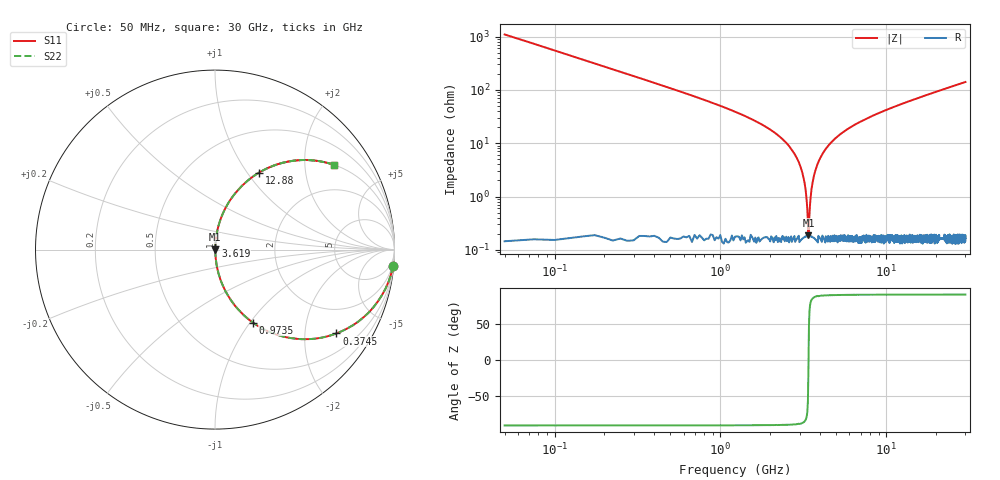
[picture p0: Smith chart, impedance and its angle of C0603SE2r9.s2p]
!	AVX Thin Film Operation 	Date: April 2014
!	Description: Accu-P® Series, Thin Film  SMD RF Capacitor
!	Part Number: 06031J2R9QBSTR
# MHZ S MA R 50
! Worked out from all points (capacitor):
!   1201 points, 50 MHz to 30 GHz, reference 50 ohm
!   read as one part in series: C = 2.9 pF near 199.8 MHz
!   lowest |Z| = 186 mohm at 3.394 GHz (marker M1)
!   series resonance near 3.399 GHz, so ESL is about 760 pH
!   S11 on the Smith chart (normalised r, x): 50 MHz: 1, -22; 374.5 MHz: 1.01, -2.89; 973.5 MHz: 1.00, -1.03; 3.619 GHz: 1.00, +0.04; 12.88 GHz: 1.00, +1.14; 30 GHz: 1.00, +2.82
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50  0.996 -5.2  0.091 84.8  0.091 84.8  0.996 -5.2
249.667  0.909 -24.6  0.416 65.4  0.416 65.4  0.909 -24.6
374.458  0.822 -34.6  0.568 55.3  0.568 55.3  0.822 -34.6
973.458  0.459 -62.5  0.887 27.3  0.887 27.3  0.459 -62.5
1622.375  0.252 -75.0  0.966 14.6  0.966 14.6  0.252 -75.0
2745.5  0.069 -84.7  0.996 4.0  0.996 4.0  0.069 -84.7
3069.958  0.033 -85.3  0.998 1.9  0.998 1.9  0.033 -85.3
3169.792  0.023 -84.6  0.998 1.3  0.998 1.3  0.023 -84.6
3294.583  0.01 -80.3  0.998 0.6  0.998 0.6  0.01 -80.3
3394.417  0.001672 -14.6  0.998 0.0  0.998 0.0  0.001672 -14.6
3494.25  0.009071 79.2  0.998 -0.5  0.998 -0.5  0.009071 79.2
3619.042  0.02 84.3  0.998 -1.2  0.998 -1.2  0.02 84.3
3793.75  0.036 85.4  0.998 -2.0  0.998 -2.0  0.036 85.4
4093.25  0.06 85.0  0.997 -3.5  0.997 -3.5  0.06 85.0
5041.667  0.129 81.9  0.99 -7.4  0.99 -7.4  0.129 81.9
6938.5  0.243 75.6  0.969 -14.0  0.969 -14.0  0.243 75.6
10058.29  0.389 66.9  0.92 -22.9  0.92 -22.9  0.389 66.9
12878.58  0.494 60.2  0.868 -29.6  0.868 -29.6  0.494 60.2
15025  0.56 55.8  0.827 -34.1  0.827 -34.1  0.56 55.8
20016.67  0.678 47.2  0.734 -42.7  0.734 -42.7  0.678 47.2
25033.29  0.759 40.6  0.65 -49.4  0.65 -49.4  0.759 40.6
30000  0.815 35.4  0.579 -54.6  0.579 -54.6  0.815 35.4
